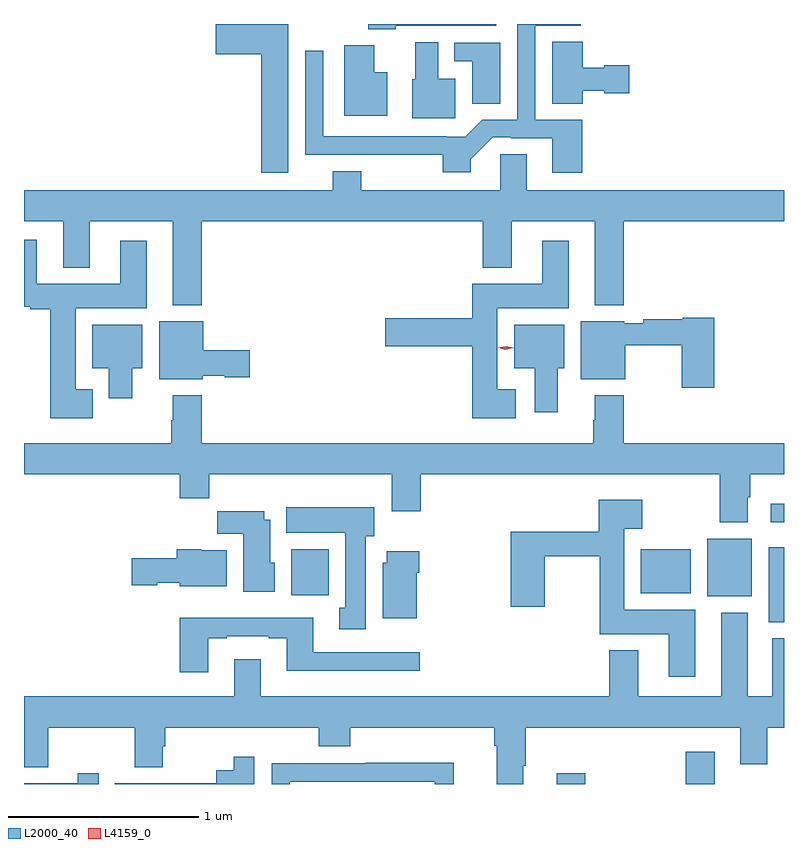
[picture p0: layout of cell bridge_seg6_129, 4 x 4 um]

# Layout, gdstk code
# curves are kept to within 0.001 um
import gdstk
lib = gdstk.Library(unit=1e-6, precision=1e-09)
def R(c, l, rs):  # rectangles x0, y0, x1, y1
    for r in rs: c.add(gdstk.rectangle(r[:2], r[2:], *l))
def P(c, l, *ps):  # polygons
    for p in ps: c.add(gdstk.Polygon(p, *l))
L2000_40 = (2000, 40)
L4159_0 = (4159, 0)

bridge_seg6_129 = lib.new_cell('bridge_seg6_129')
R(bridge_seg6_129, L2000_40, [(407.999,932.387,408.148,932.443), (408.677,932.387,408.829,932.557), (409.115,933.238,409.194,933.634), (408.791,933.374,409.024,933.679), (406.601,933.38,406.798,933.622), (408.44,933.392,408.703,933.622), (409.125,933.764,409.194,933.862)])
P(bridge_seg6_129, L2000_40, [(406.585,936.387),(406.203,936.387),(406.203,936.227),(406.442,936.227),(406.442,935.604),(406.585,935.604)],
  [(408.131,935.883),(407.886,935.883),(407.886,936.378),(408.124,936.378),(408.124,936.387),(407.79,936.387),(407.79,935.883),(407.606,935.883),(407.516,935.793),(407.42,935.793),(407.42,935.796),(406.771,935.796),(406.77,936.247),(406.674,936.247),(406.674,935.7),(407.398,935.699),(407.398,935.606),(407.545,935.606),(407.545,935.674),(407.661,935.79),(407.755,935.79),(407.755,935.787),(407.975,935.787),(407.975,935.604),(408.131,935.604)],
  [(407.151,936.377),(407.68,936.377),(407.68,936.387),(407.007,936.387),(407.007,936.359),(407.151,936.359)],
  [(408.136,936.035),(408.249,936.035),(408.249,936.023),(408.379,936.023),(408.379,936.17),(408.249,936.17),(408.249,936.157),(408.136,936.157),(408.136,936.293),(407.975,936.293),(407.975,935.968),(408.136,935.968)],
  [(407.464,936.1),(407.374,936.1),(407.374,936.292),(407.252,936.292),(407.252,936.096),(407.237,936.096),(407.237,935.891),(407.464,935.891)],
  [(407.701,936.288),(407.459,936.288),(407.459,936.192),(407.552,936.192),(407.552,935.968),(407.701,935.968)],
  [(407.107,936.133),(407.038,936.133),(407.038,936.274),(406.88,936.274),(406.88,935.903),(407.107,935.903)],
  [(406.13,935.348),(407.609,935.348),(407.609,935.105),(407.761,935.105),(407.761,935.348),(408.197,935.348),(408.197,934.907),(408.35,934.907),(408.35,935.348),(409.194,935.348),(409.194,935.512),(407.839,935.512),(407.839,935.702),(407.7,935.702),(407.7,935.512),(406.968,935.512),(406.968,935.611),(406.82,935.611),(406.82,935.512),(405.194,935.512),(405.194,935.348),(405.401,935.348),(405.401,935.105),(405.541,935.105),(405.541,935.348),(405.977,935.348),(405.977,934.907),(406.13,934.907)],
  [(405.556,934.465),(405.466,934.465),(405.466,934.892),(405.841,934.892),(405.841,935.245),(405.701,935.245),(405.701,935.02),(405.262,935.02),(405.262,935.251),(405.194,935.251),(405.194,934.898),(405.228,934.898),(405.228,934.886),(405.332,934.886),(405.332,934.313),(405.556,934.313)],
  [(407.782,934.465),(407.686,934.465),(407.686,934.892),(408.061,934.892),(408.061,935.245),(407.921,935.245),(407.921,935.02),(407.552,935.02),(407.552,934.838),(407.094,934.838),(407.094,934.691),(407.552,934.691),(407.552,934.313),(407.782,934.313)],
  [(408.827,934.84),(408.66,934.84),(408.66,934.832),(408.454,934.832),(408.454,934.812),(408.354,934.812),(408.354,934.822),(408.125,934.822),(408.125,934.517),(408.358,934.517),(408.358,934.696),(408.656,934.696),(408.656,934.473),(408.827,934.473)],
  [(406.134,934.535),(406.251,934.535),(406.251,934.528),(406.381,934.528),(406.381,934.67),(406.138,934.67),(406.138,934.822),(405.905,934.822),(405.905,934.517),(406.134,934.517)],
  [(408.004,934.574),(408.037,934.574),(408.037,934.804),(407.774,934.804),(407.774,934.574),(407.882,934.574),(407.882,934.344),(408.004,934.344)],
  [(405.763,934.574),(405.817,934.574),(405.817,934.804),(405.554,934.804),(405.554,934.574),(405.641,934.574),(405.641,934.416),(405.763,934.416)],
  [(409.003,933.896),(409.016,933.896),(409.016,934.016),(409.194,934.016),(409.194,934.18),(408.35,934.18),(408.35,934.432),(408.197,934.432),(408.197,934.301),(408.19,934.301),(408.19,934.18),(406.13,934.18),(406.13,934.432),(405.977,934.432),(405.977,934.301),(405.97,934.301),(405.97,934.18),(405.194,934.18),(405.194,934.016),(406.013,934.016),(406.013,933.892),(406.169,933.892),(406.169,934.016),(407.129,934.016),(407.129,933.822),(407.282,933.822),(407.282,934.016),(408.856,934.016),(408.856,933.764),(409.003,933.764)],
  [(408.727,933.304),(408.352,933.304),(408.352,933.731),(408.448,933.731),(408.448,933.883),(408.218,933.883),(408.218,933.715),(407.756,933.715),(407.756,933.321),(407.934,933.321),(407.934,933.586),(408.223,933.586),(408.223,933.176),(408.587,933.176),(408.587,932.952),(408.727,932.952)],
  [(406.993,933.69),(407.038,933.69),(407.038,933.844),(406.574,933.844),(406.574,933.71),(406.886,933.71),(406.886,933.314),(406.853,933.314),(406.853,933.201),(406.993,933.201)],
  [(406.513,933.552),(406.489,933.552),(406.489,933.778),(406.459,933.778),(406.459,933.823),(406.21,933.823),(406.21,933.704),(406.349,933.704),(406.349,933.398),(406.513,933.398)],
  [(406.261,933.616),(406.128,933.616),(406.128,933.622),(405.998,933.622),(405.998,933.576),(405.762,933.576),(405.762,933.434),(405.894,933.434),(405.894,933.446),(406.014,933.446),(406.014,933.428),(406.261,933.428)],
  [(407.26,933.5),(407.273,933.5),(407.273,933.613),(407.102,933.613),(407.102,933.552),(407.081,933.552),(407.081,933.26),(407.26,933.26)],
  [(406.745,932.585),(406.91,932.585),(406.91,932.684),(407.669,932.684),(407.669,932.588),(407.681,932.588),(407.681,932.387),(407.821,932.387),(407.821,932.482),(407.834,932.482),(407.834,932.684),(408.965,932.684),(408.965,932.49),(409.105,932.49),(409.105,932.684),(409.194,932.684),(409.194,933.153),(409.133,933.153),(409.133,932.848),(409.003,932.848),(409.003,933.289),(408.863,933.289),(408.863,932.848),(408.427,932.848),(408.427,933.091),(408.275,933.091),(408.275,932.848),(406.441,932.848),(406.441,933.043),(406.301,933.043),(406.301,932.848),(405.194,932.848),(405.194,932.476),(405.321,932.476),(405.321,932.684),(405.778,932.684),(405.778,932.476),(405.925,932.476),(405.925,932.586),(405.938,932.586),(405.938,932.684),(406.745,932.684)],
  [(406.165,933.153),(406.261,933.153),(406.261,933.165),(406.481,933.165),(406.481,933.153),(406.577,933.153),(406.577,932.984),(407.278,932.984),(407.278,933.081),(406.717,933.081),(406.717,933.262),(406.013,933.262),(406.013,932.976),(406.165,932.976)],
  [(406.407,932.53),(406.299,932.53),(406.299,932.46),(406.206,932.46),(406.206,932.391),(405.672,932.391),(405.672,932.387),(406.407,932.387)],
  [(406.593,932.4),(407.357,932.4),(407.357,932.387),(407.457,932.387),(407.457,932.498),(406.993,932.498),(406.993,932.496),(406.497,932.496),(406.497,932.387),(406.593,932.387)],
  [(405.587,932.443),(405.476,932.443),(405.476,932.391),(405.194,932.391),(405.194,932.387),(405.587,932.387)])
P(bridge_seg6_129, L4159_0, [(407.73,934.672),(407.69,934.682),(407.69,934.682),(407.69,934.682),(407.73,934.692),(407.769,934.683),(407.769,934.682),(407.769,934.682)])

lib.write_gds('bridge_seg6_129.gds')
